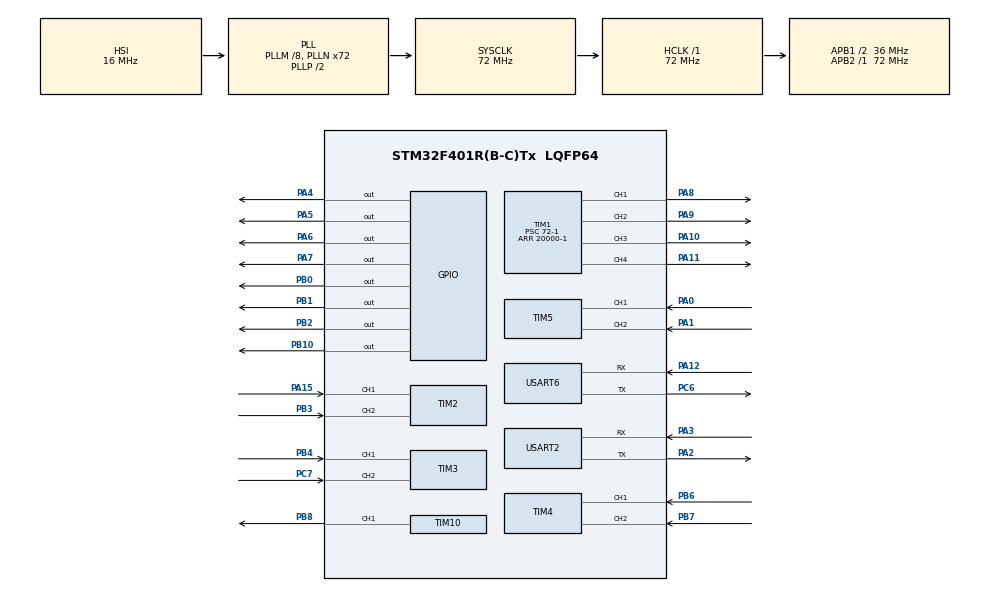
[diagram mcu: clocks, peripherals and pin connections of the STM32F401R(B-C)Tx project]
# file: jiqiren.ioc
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Mcu.Family=STM32F4
Mcu.Name=STM32F401R(B-C)Tx
Mcu.Package=LQFP64
NVIC.PriorityGroup=NVIC_PRIORITYGROUP_4
NVIC.TIM1_BRK_TIM9_IRQn=true\:0\:0\:false\:false\:true\:true\:true\:true
PA0-WKUP.Signal=S_TIM5_CH1
PA1.Signal=S_TIM5_CH2
PA10.Signal=S_TIM1_CH3
PA11.Signal=S_TIM1_CH4
PA12.Mode=Asynchronous
PA12.Signal=USART6_RX
PA13.Mode=Serial_Wire
PA13.Signal=SYS_JTMS-SWDIO
PA14.Mode=Serial_Wire
PA14.Signal=SYS_JTCK-SWCLK
PA15.Signal=S_TIM2_CH1_ETR
PA2.Mode=Asynchronous
PA2.Signal=USART2_TX
PA3.Mode=Asynchronous
PA3.Signal=USART2_RX
PA4.Signal=GPIO_Output
PA5.Signal=GPIO_Output
PA6.Signal=GPIO_Output
PA7.Signal=GPIO_Output
PA8.Signal=S_TIM1_CH1
PA9.Signal=S_TIM1_CH2
PB0.Signal=GPIO_Output
PB1.Signal=GPIO_Output
PB10.Signal=GPIO_Output
PB2.Signal=GPIO_Output
PB3.Signal=S_TIM2_CH2
PB4.Signal=S_TIM3_CH1
PB6.Signal=S_TIM4_CH1
PB7.Signal=S_TIM4_CH2
PB8.Signal=S_TIM10_CH1
PC6.Mode=Asynchronous
PC6.Signal=USART6_TX
PC7.Signal=S_TIM3_CH2
PH0\ -\ OSC_IN.Mode=HSE-External-Oscillator
PH0\ -\ OSC_IN.Signal=RCC_OSC_IN
PH1\ -\ OSC_OUT.Mode=HSE-External-Oscillator
PH1\ -\ OSC_OUT.Signal=RCC_OSC_OUT
ProjectManager.HeapSize=0x200
ProjectManager.StackSize=0x400
ProjectManager.TargetToolchain=MDK-ARM V5.32
RCC.48MHZClocksFreq_Value=36000000
RCC.AHBFreq_Value=72000000
RCC.APB1CLKDivider=RCC_HCLK_DIV2
RCC.APB1Freq_Value=36000000
RCC.APB1TimFreq_Value=72000000
RCC.APB2Freq_Value=72000000
RCC.APB2TimFreq_Value=72000000
RCC.CortexFreq_Value=72000000
RCC.HCLKFreq_Value=72000000
RCC.HSE_VALUE=25000000
RCC.HSI_VALUE=16000000
RCC.LSE_VALUE=32768
RCC.PLLM=8
RCC.PLLN=72
RCC.SYSCLKFreq_VALUE=72000000
RCC.SYSCLKSource=RCC_SYSCLKSOURCE_PLLCLK
RCC.VCOOutputFreq_Value=144000000
SH.S_TIM10_CH1.0=TIM10_CH1,PWM Generation1 CH1
SH.S_TIM1_CH1.0=TIM1_CH1,PWM Generation1 CH1
SH.S_TIM1_CH2.0=TIM1_CH2,PWM Generation2 CH2
SH.S_TIM1_CH3.0=TIM1_CH3,PWM Generation3 CH3
SH.S_TIM1_CH4.0=TIM1_CH4,PWM Generation4 CH4
SH.S_TIM2_CH1_ETR.0=TIM2_CH1,Encoder_Interface
SH.S_TIM2_CH2.0=TIM2_CH2,Encoder_Interface
SH.S_TIM3_CH1.0=TIM3_CH1,Encoder_Interface
SH.S_TIM3_CH2.0=TIM3_CH2,Encoder_Interface
SH.S_TIM4_CH1.0=TIM4_CH1,Encoder_Interface
SH.S_TIM4_CH2.0=TIM4_CH2,Encoder_Interface
SH.S_TIM5_CH1.0=TIM5_CH1,Encoder_Interface
SH.S_TIM5_CH2.0=TIM5_CH2,Encoder_Interface
TIM1.Channel-PWM\ Generation1\ CH1=TIM_CHANNEL_1
TIM1.Channel-PWM\ Generation2\ CH2=TIM_CHANNEL_2
TIM1.Channel-PWM\ Generation3\ CH3=TIM_CHANNEL_3
TIM1.Channel-PWM\ Generation4\ CH4=TIM_CHANNEL_4
TIM1.Period=20000-1
TIM1.Prescaler=72-1
TIM10.Channel=TIM_CHANNEL_1
TIM10.Period=20000-1
TIM10.Prescaler=72-1
USART2.VirtualMode=VM_ASYNC
USART6.VirtualMode=VM_ASYNC
VP_TIM10_VS_ClockSourceINT.Mode=Enable_Timer
VP_TIM1_VS_ClockSourceINT.Mode=Internal
VP_TIM9_VS_ClockSourceINT.Mode=Internal
board=custom

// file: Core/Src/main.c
/* USER CODE BEGIN Header */
/**
 ******************************************************************************
 * @file           : main.c
 * @brief          : Main program body
 ******************************************************************************
 * @attention
 *
 * Copyright (c) 2026 STMicroelectronics.
 * All rights reserved.
 *
 * This software is licensed under terms that can be found in the LICENSE file
 * in the root directory of this software component.
 * If no LICENSE file comes with this software, it is provided AS-IS.
 *
 ******************************************************************************
 */
/* USER CODE END Header */
#include "main.h"
#include "tim.h"
#include "usart.h"
#include "gpio.h"

/* USER CODE BEGIN Includes */
#include "Encoder.h"
#include "Pwm.h"
#include "Trace.h"
/* USER CODE END Includes */

void SystemClock_Config(void);

/* USER CODE BEGIN 0 */
float TargetA, ActualA, OutA;
float TargetB, ActualB, OutB;
float TargetC, ActualC, OutC;
float TargetD, ActualD, OutD;
float Kp = 7.1, Ki = 0.1 , Kd = 0;
float Error0A, Error1A, ErrorIntA;
float Error0B, Error1B, ErrorIntB;
float Error0C, Error1C, ErrorIntC;
float Error0D, Error1D, ErrorIntD;
volatile float vx = 0, vy = 0, omega = 0;
float Lx = 0.15, Ly = 0.15;  //Lx、Ly 是轮子中心到车体中心在 X、Y 方向的距离
char rx_data[43];
/* USER CODE END 0 */

int main(void)
{

  /* MCU Configuration--------------------------------------------------------*/

  /* Reset of all peripherals, Initializes the Flash interface and the Systick. */
  HAL_Init();

  /* Configure the system clock */
  SystemClock_Config();

  /* Initialize all configured peripherals */
  MX_GPIO_Init();
  MX_TIM1_Init();
  MX_TIM2_Init();
  MX_TIM3_Init();
  MX_TIM4_Init();
  MX_TIM5_Init();
  MX_TIM9_Init();
  MX_TIM10_Init();
  MX_USART6_UART_Init();
  MX_USART2_UART_Init();
  /* USER CODE BEGIN 2 */
  Encoder_Init();
  HAL_TIM_Base_Start_IT(&htim9);
  HAL_TIM_PWM_Start(&htim1, TIM_CHANNEL_1);
  HAL_TIM_PWM_Start(&htim1, TIM_CHANNEL_2);
  HAL_TIM_PWM_Start(&htim1, TIM_CHANNEL_3);
  HAL_TIM_PWM_Start(&htim1, TIM_CHANNEL_4);
  /* USER CODE END 2 */

  /* Infinite loop */
    while (1)
    {

    /* USER CODE BEGIN 3 */
      Trace();          // 解析一帧八路探头 -> 算偏差 -> 驱动底盘
    }
  /* USER CODE END 3 */
}

void SystemClock_Config(void)
{
  RCC_OscInitTypeDef RCC_OscInitStruct = {0};
  RCC_ClkInitTypeDef RCC_ClkInitStruct = {0};

  /** Configure the main internal regulator output voltage
  */
  __HAL_RCC_PWR_CLK_ENABLE();
  __HAL_PWR_VOLTAGESCALING_CONFIG(PWR_REGULATOR_VOLTAGE_SCALE2);

  /** Initializes the RCC Oscillators according to the specified parameters
  * in the RCC_OscInitTypeDef structure.
  */
  RCC_OscInitStruct.OscillatorType = RCC_OSCILLATORTYPE_HSI;
  RCC_OscInitStruct.HSIState = RCC_HSI_ON;
  RCC_OscInitStruct.HSICalibrationValue = RCC_HSICALIBRATION_DEFAULT;
  RCC_OscInitStruct.PLL.PLLState = RCC_PLL_ON;
  RCC_OscInitStruct.PLL.PLLSource = RCC_PLLSOURCE_HSI;
  RCC_OscInitStruct.PLL.PLLM = 8;
  RCC_OscInitStruct.PLL.PLLN = 72;
  RCC_OscInitStruct.PLL.PLLP = RCC_PLLP_DIV2;
  RCC_OscInitStruct.PLL.PLLQ = 4;
  if (HAL_RCC_OscConfig(&RCC_OscInitStruct) != HAL_OK)
  {
    Error_Handler();
  }

  /** Initializes the CPU, AHB and APB buses clocks
  */
  RCC_ClkInitStruct.ClockType = RCC_CLOCKTYPE_HCLK|RCC_CLOCKTYPE_SYSCLK
                              |RCC_CLOCKTYPE_PCLK1|RCC_CLOCKTYPE_PCLK2;
  RCC_ClkInitStruct.SYSCLKSource = RCC_SYSCLKSOURCE_PLLCLK;
  RCC_ClkInitStruct.AHBCLKDivider = RCC_SYSCLK_DIV1;
  RCC_ClkInitStruct.APB1CLKDivider = RCC_HCLK_DIV2;
  RCC_ClkInitStruct.APB2CLKDivider = RCC_HCLK_DIV1;

  if (HAL_RCC_ClockConfig(&RCC_ClkInitStruct, FLASH_LATENCY_2) != HAL_OK)
  {
    Error_Handler();
  }
}

/* USER CODE BEGIN 4 */
void HAL_TIM_PeriodElapsedCallback(TIM_HandleTypeDef *htim)
{
	if (htim->Instance == TIM9)
  {
		static uint16_t CountA;
		static uint16_t CountB;
    static uint16_t CountC;
		static uint16_t CountD;
		CountA ++;
		CountB ++;
		CountC ++;
		CountD ++;
		if (CountA >= 20)
		{
			CountA = 0;
			ActualA = Encoder_GetA();
			Error1A = Error0A;
			Error0A = TargetA - ActualA;
			OutA = Kp*Error0A + ErrorIntA +Kd*(Error0A - Error1A);
			if(OutA > 100)
			{
				OutA = 100;							// 输出饱和，本周期不积分（抗积分饱和）
			}
			else if(OutA < -100)
			{
				OutA = -100;
			}
			else
			{
				ErrorIntA += Ki*Error0A;			// 只在未饱和时累加积分
			}
			if(ErrorIntA > 60) ErrorIntA = 60;		// 积分项限幅
			if(ErrorIntA < -60) ErrorIntA = -60;
			SetPWMA(OutA);
		}

		if (CountB >= 20)
		{
			CountB = 0;
			ActualB = Encoder_GetB();
			Error1B = Error0B;
			Error0B = TargetB - ActualB;
			OutB = Kp*Error0B + ErrorIntB +Kd*(Error0B - Error1B);
			if(OutB > 100)
			{
				OutB = 100;							// 输出饱和，本周期不积分（抗积分饱和）
			}
			else if(OutB < -100)
			{
				OutB = -100;
			}
			else
			{
				ErrorIntB += Ki*Error0B;			// 只在未饱和时累加积分
			}
			if(ErrorIntB > 60) ErrorIntB = 60;		// 积分项限幅
			if(ErrorIntB < -60) ErrorIntB = -60;
			SetPWMB(OutB);
		}

    if (CountC >= 20)
		{
			CountC = 0;
			ActualC = Encoder_GetC();
			Error1C = Error0C;
			Error0C = TargetC - ActualC;
			OutC = Kp*Error0C + ErrorIntC +Kd*(Error0C - Error1C);
			if(OutC > 100)
			{
				OutC = 100;							// 输出饱和，本周期不积分（抗积分饱和）
			}
			else if(OutC < -100)
			{
				OutC = -100;
			}
			else
			{
				ErrorIntC += Ki*Error0C;			// 只在未饱和时累加积分
			}
			if(ErrorIntC > 60) ErrorIntC = 60;		// 积分项限幅
			if(ErrorIntC < -60) ErrorIntC = -60;
			SetPWMC(OutC);
		}

		if (CountD >= 20)
		{
			CountD = 0;
			ActualD = Encoder_GetD();
			Error1D = Error0D;
			Error0D = TargetD - ActualD;
			OutD = Kp*Error0D + ErrorIntD +Kd*(Error0D - Error1D);
			if(OutD > 100)
			{
				OutD = 100;							// 输出饱和，本周期不积分（抗积分饱和）
			}
			else if(OutD < -100)
			{
				OutD = -100;
			}
			else
			{
				ErrorIntD += Ki*Error0D;			// 只在未饱和时累加积分
			}
			if(ErrorIntD > 60) ErrorIntD = 60;		// 积分项限幅
			if(ErrorIntD < -60) ErrorIntD = -60;
			SetPWMD(OutD);
		}
	}
}

void HAL_UART_RxCpltCallback(UART_HandleTypeDef *huart)
{
    if (huart->Instance == USART2)
    {
        HAL_UART_Receive_IT(&huart2, (uint8_t *)rx_data, 43);
    }
}
/* USER CODE END 4 */

void Error_Handler(void)
{
    __disable_irq();
    while (1)
    {
    }
}
